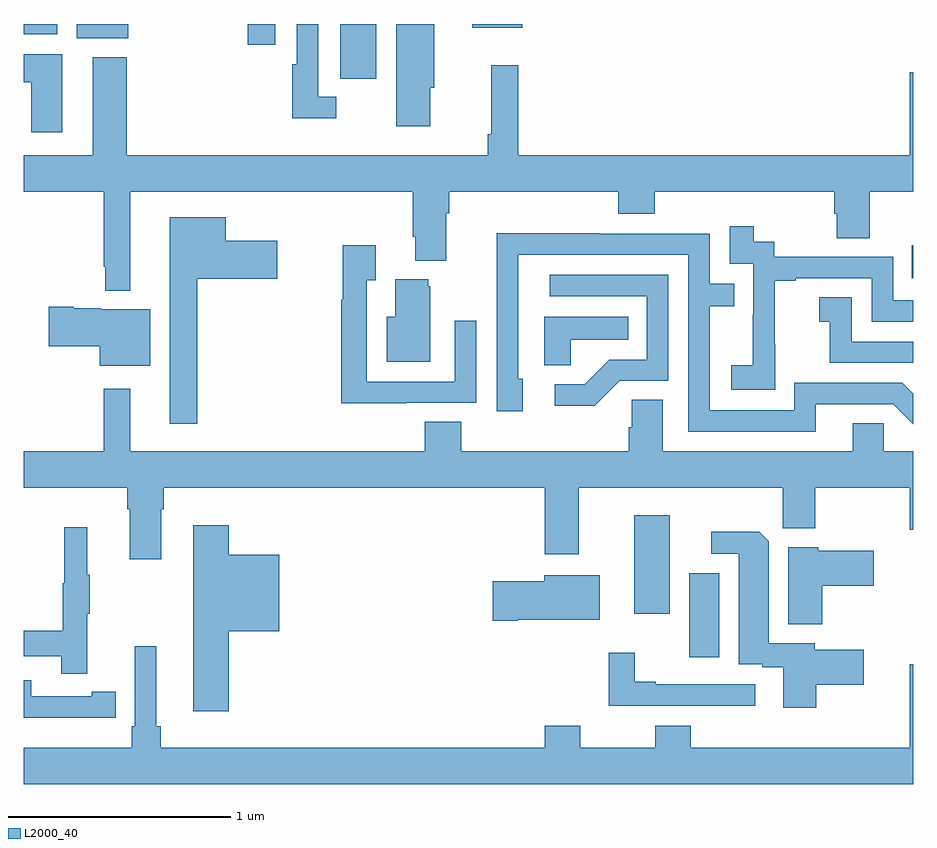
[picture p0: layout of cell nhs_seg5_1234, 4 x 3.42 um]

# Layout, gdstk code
import gdstk
lib = gdstk.Library(unit=1e-6, precision=1e-09)
def R(c, l, rs):  # rectangles x0, y0, x1, y1
    for r in rs: c.add(gdstk.rectangle(r[:2], r[2:], *l))
def P(c, l, *ps):  # polygons
    for p in ps: c.add(gdstk.Polygon(p, *l))
L2000_40 = (2000, 40)

nhs_seg5_1234 = lib.new_cell('nhs_seg5_1234')
R(nhs_seg5_1234, L2000_40, [(187.994,903.951,188.128,904.327), (187.745,904.146,187.906,904.588), (188.995,905.655,189,905.803), (186.422,906.552,186.586,906.799), (186.008,906.705,186.13,906.799), (185.237,906.734,185.47,906.799), (185,906.752,185.149,906.799), (187.016,906.782,187.242,906.799)])
P(nhs_seg5_1234, L2000_40, [(186.406,906.471),(186.324,906.471),(186.324,906.799),(186.228,906.799),(186.228,906.617),(186.208,906.617),(186.208,906.374),(186.406,906.374)],
  [(186.829,906.513),(186.847,906.513),(186.847,906.799),(186.674,906.799),(186.674,906.339),(186.829,906.339)],
  [(185.173,906.664),(185,906.664),(185,906.536),(185.033,906.536),(185.033,906.312),(185.173,906.312)],
  [(185.479,906.044),(186.749,906.044),(186.749,905.842),(186.761,905.842),(186.761,905.735),(186.901,905.735),(186.901,905.948),(186.914,905.948),(186.914,906.044),(187.673,906.044),(187.673,905.945),(187.838,905.945),(187.838,906.044),(188.645,906.044),(188.645,905.946),(188.657,905.946),(188.657,905.836),(188.805,905.836),(188.805,906.044),(189,906.044),(189,906.583),(188.984,906.583),(188.984,906.208),(187.223,906.208),(187.223,906.613),(187.102,906.613),(187.102,906.304),(187.087,906.304),(187.087,906.208),(185.462,906.208),(185.462,906.649),(185.309,906.649),(185.309,906.208),(185,906.208),(185,906.044),(185.358,906.044),(185.358,905.707),(185.365,905.707),(185.365,905.6),(185.479,905.6)],
  [(185.779,905.654),(186.139,905.654),(186.139,905.824),(185.908,905.824),(185.908,905.929),(185.657,905.929),(185.657,905.001),(185.779,905.001)],
  [(188.379,905.359),(188.378,905.359),(188.378,905.643),(188.473,905.643),(188.473,905.655),(188.814,905.655),(188.814,905.46),(189,905.46),(189,905.556),(188.91,905.556),(188.91,905.751),(188.376,905.751),(188.376,905.82),(188.284,905.82),(188.284,905.89),(188.175,905.89),(188.175,905.721),(188.28,905.721),(188.28,905.492),(188.279,905.492),(188.279,905.263),(188.181,905.263),(188.181,905.153),(188.379,905.153)],
  [(188.563,905.088),(188.91,905.088),(189,904.998),(189,905.136),(188.952,905.184),(188.466,905.184),(188.466,905.061),(188.085,905.061),(188.085,905.53),(188.195,905.53),(188.195,905.631),(188.085,905.631),(188.085,905.856),(187.589,905.856),(187.589,905.858),(187.126,905.858),(187.126,905.551),(187.128,905.551),(187.128,905.058),(187.243,905.058),(187.243,905.202),(187.224,905.202),(187.224,905.76),(187.989,905.76),(187.989,904.965),(188.563,904.965)],
  [(186.719,905.094),(187.035,905.094),(187.035,905.464),(186.939,905.464),(186.939,905.19),(186.543,905.19),(186.543,905.647),(186.583,905.647),(186.583,905.803),(186.435,905.803),(186.435,905.558),(186.427,905.558),(186.427,905.093),(186.719,905.093)],
  [(187.68,905.193),(187.899,905.193),(187.899,905.67),(187.365,905.67),(187.365,905.574),(187.803,905.574),(187.803,905.289),(187.634,905.289),(187.523,905.178),(187.389,905.178),(187.389,905.081),(187.567,905.081)],
  [(186.829,905.619),(186.818,905.619),(186.818,905.65),(186.671,905.65),(186.671,905.482),(186.632,905.482),(186.632,905.279),(186.829,905.279)],
  [(189,905.37),(188.724,905.37),(188.724,905.569),(188.577,905.569),(188.577,905.459),(188.626,905.459),(188.626,905.274),(189,905.274)],
  [(185.569,905.515),(185.346,905.515),(185.346,905.521),(185.224,905.521),(185.224,905.528),(185.112,905.528),(185.112,905.35),(185.342,905.35),(185.342,905.261),(185.569,905.261)],
  [(187.461,905.378),(187.718,905.378),(187.718,905.482),(187.34,905.482),(187.34,905.263),(187.461,905.263)],
  [(185.617,904.616),(185.63,904.616),(185.63,904.712),(187.343,904.712),(187.343,904.413),(187.495,904.413),(187.495,904.712),(188.413,904.712),(188.413,904.53),(188.559,904.53),(188.559,904.712),(188.984,904.712),(188.984,904.524),(189,904.524),(189,904.876),(188.868,904.876),(188.868,905.003),(188.729,905.003),(188.729,904.876),(187.873,904.876),(187.873,905.108),(187.734,905.108),(187.734,904.985),(187.721,904.985),(187.721,904.876),(186.968,904.876),(186.968,905.009),(186.803,905.009),(186.803,904.876),(185.479,904.876),(185.479,905.158),(185.358,905.158),(185.358,904.876),(185,904.876),(185,904.712),(185.465,904.712),(185.465,904.616),(185.477,904.616),(185.477,904.392),(185.617,904.392)],
  [(185.921,904.067),(186.148,904.067),(186.148,904.411),(185.921,904.411),(185.921,904.543),(185.762,904.543),(185.762,903.708),(185.921,903.708)],
  [(185.285,904.147),(185.296,904.147),(185.296,904.321),(185.285,904.321),(185.285,904.534),(185.182,904.534),(185.182,904.284),(185.175,904.284),(185.175,904.07),(185,904.07),(185,903.954),(185.167,903.954),(185.167,903.876),(185.285,903.876)],
  [(188.565,903.827),(188.779,903.827),(188.779,903.985),(188.557,903.985),(188.557,904.014),(188.35,904.014),(188.35,904.472),(188.308,904.514),(188.091,904.514),(188.091,904.416),(188.216,904.416),(188.216,903.918),(188.321,903.918),(188.321,903.906),(188.417,903.906),(188.417,903.723),(188.565,903.723)],
  [(188.591,904.271),(188.824,904.271),(188.824,904.429),(188.574,904.429),(188.574,904.444),(188.438,904.444),(188.438,904.099),(188.591,904.099)],
  [(187.222,904.12),(187.591,904.12),(187.591,904.318),(187.34,904.318),(187.34,904.293),(187.11,904.293),(187.11,904.115),(187.222,904.115)],
  [(189,903.919),(188.984,903.919),(188.984,903.544),(188,903.544),(188,903.643),(187.84,903.643),(187.84,903.544),(187.503,903.544),(187.503,903.643),(187.343,903.643),(187.343,903.544),(185.615,903.544),(185.615,903.64),(185.596,903.64),(185.596,904),(185.499,904),(185.499,903.64),(185.486,903.64),(185.486,903.544),(185,903.544),(185,903.38),(189,903.38)],
  [(188.29,903.828),(187.843,903.828),(187.843,903.841),(187.749,903.841),(187.749,903.97),(187.63,903.97),(187.63,903.732),(188.29,903.732)],
  [(185.306,903.678),(185.414,903.678),(185.414,903.794),(185.306,903.794),(185.306,903.774),(185.034,903.774),(185.034,903.846),(185,903.846),(185,903.677),(185.306,903.677)])

lib.write_gds('nhs_seg5_1234.gds')
